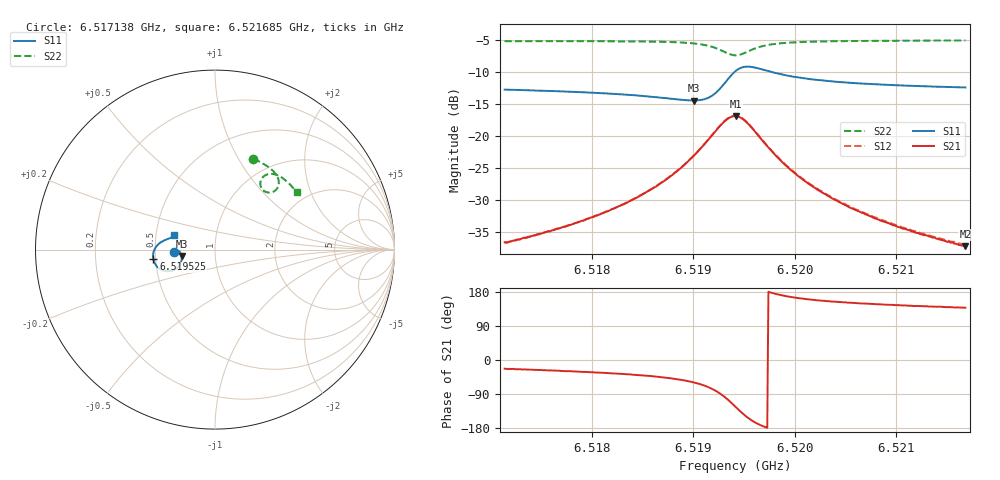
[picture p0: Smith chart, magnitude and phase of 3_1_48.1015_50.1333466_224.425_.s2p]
#  HZ  S  RI  R  50.00
! Rohde & Schwarz Vector Network Analyzer
! Rohde-Schwarz,ZNB20-2Port,1311601062101988,3.16
! Created: UTC 12/23/2023, 3:34:50 AM
! freq[Hz]  re:S11  im:S11  re:S21  im:S21  re:S12  im:S12  re:S22  im:S22
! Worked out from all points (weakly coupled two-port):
!   401 points, 6.517138 GHz to 6.521685 GHz, reference 50 ohm
!   highest |S21| = -16.89 dB at 6.519423 GHz (marker M1); lowest = -37.1 dB at 6.521685 GHz (marker M2)
!   lowest |S11| = -14.5 dB at 6.519002 GHz (marker M3), VSWR 1.47, Z = 34.2 - j2.48 ohm
!   |S11| at or under -10 dB: start of sweep to 6.519407 GHz; 6.519771 GHz to end of sweep
!   |S22| runs from -7.4 to -5.1 dB; largest |S21 - S12| = 0.0044
!   S11 on the Smith chart (normalised r, x): 6.517138 GHz: 0.63, -0.02; 6.519525 GHz: 0.49, -0.06; 6.521685 GHz: 0.62, +0.10
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6.5171377e9  -0.23 -0.0141  0.0137 -0.00578  0.0137 -0.00536  0.214 0.5054
6.5176038e9  -0.2244 -0.00759  0.0164 -0.00856  0.0165 -0.00798  0.2483 0.4897
6.5178994e9  -0.2197 -0.00453  0.0188 -0.0113  0.019 -0.0106  0.2702 0.478
6.5183315e9  -0.2105 -0.00309  0.0238 -0.0182  0.0245 -0.0175  0.3028 0.4566
6.5186611e9  -0.1999 -0.0086  0.03 -0.0295  0.031 -0.0287  0.3285 0.4337
6.5188544e9  -0.192 -0.0188  0.0342 -0.0427  0.0357 -0.0416  0.3433 0.4142
6.5190022e9  -0.1862 -0.035  0.0361 -0.0599  0.0381 -0.0591  0.3531 0.3922
6.5191159e9  -0.186 -0.0572  0.0326 -0.0813  0.0352 -0.0808  0.3554 0.3685
6.5191955e9  -0.1934 -0.0794  0.0223 -0.1014  0.0256 -0.1015  0.3499 0.3477
6.5193205e9  -0.238 -0.1167  -0.023 -0.1307  -0.0193 -0.1326  0.3151 0.319
6.5194115e9  -0.2977 -0.1127  -0.0763 -0.121  -0.0735 -0.1242  0.273 0.3268
6.5194229e9  -0.305 -0.1091  -0.0825 -0.1169  -0.0797 -0.1202  0.2688 0.3306
6.5194683e9  -0.3287 -0.0875  -0.101 -0.0955  -0.0992 -0.0992  0.2561 0.3488
6.5195252e9  -0.3434 -0.0542  -0.1105 -0.065  -0.1097 -0.0688  0.2528 0.3739
6.5196389e9  -0.3375 -0.000481  -0.0997 -0.0196  -0.0999 -0.0227  0.272 0.4085
6.5197526e9  -0.3178 0.0279  -0.0796 0.00139  -0.0803 -0.000823  0.2978 0.4209
6.5199458e9  -0.2907 0.0476  -0.0545 0.0127  -0.0555 0.0112  0.3318 0.4198
6.5201732e9  -0.2708 0.0562  -0.0381 0.0145  -0.0389 0.0137  0.3588 0.4091
6.520537e9  -0.2528 0.0631  -0.0245 0.0134  -0.0253 0.0131  0.3896 0.3884
6.5209349e9  -0.2409 0.0689  -0.0172 0.0118  -0.0178 0.0114  0.4159 0.3647
6.5212532e9  -0.2337 0.0732  -0.0136 0.0105  -0.0141 0.0104  0.4341 0.3455
6.5216852e9  -0.2258 0.079  -0.0103 0.00928  -0.0107 0.00925  0.4559 0.3186
